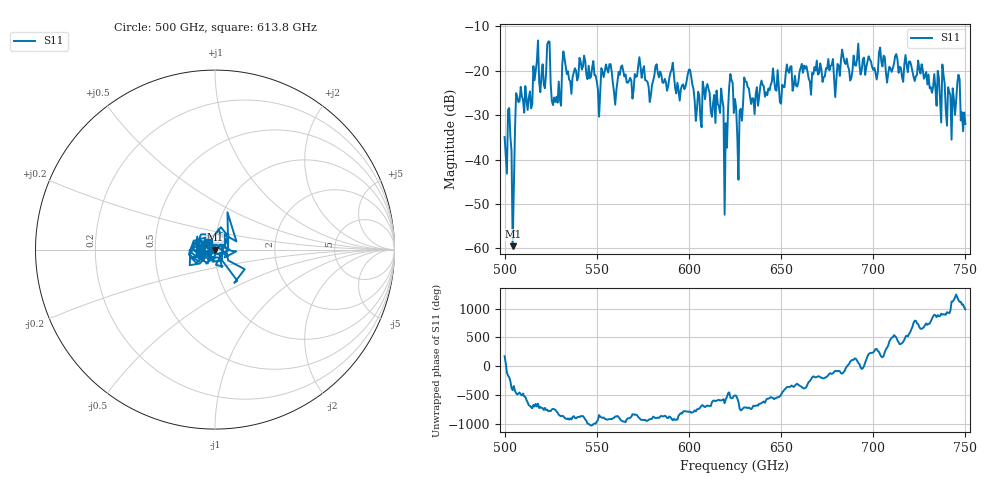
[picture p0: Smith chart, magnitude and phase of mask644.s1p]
!Created with skrf (http://scikit-rf.org).
# GHz S MA R 50.0
!freq magS11 angS11
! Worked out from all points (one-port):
!   401 points, 500 GHz to 750 GHz, reference 50 ohm
!   lowest |S11| = -59.5 dB at 504.4 GHz (marker M1), VSWR 1.00, Z = 50.1 - j0.0852 ohm
!   |S11| at or under -10 dB: start of sweep to end of sweep
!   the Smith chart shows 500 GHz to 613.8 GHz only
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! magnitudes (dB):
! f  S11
! 500 GHz  -34.9
! 502.5 GHz  -28.4
! 504.4 GHz  -59.5
! 507.5 GHz  -27.1
! 513.8 GHz  -24.6
! 516.9 GHz  -20.1
! 520.6 GHz  -18.5
! 523.8 GHz  -13.4
! 526.9 GHz  -26.0
! 531.2 GHz  -18.8
! 560 GHz  -27.6
! 562.5 GHz  -20.9
! 593.8 GHz  -22.7
! 600 GHz  -19.7
! 605.6 GHz  -25.6
! 616.2 GHz  -28.0
! 620 GHz  -31.8
! 622.5 GHz  -20.7
! 625 GHz  -26.4
! 627.5 GHz  -29.0
! 631.2 GHz  -22.5
! 634.4 GHz  -26.2
! 656.2 GHz  -24.5
! 687.5 GHz  -22.2
! 718.8 GHz  -20.3
! 741.2 GHz  -24.7
! 746.2 GHz  -20.9
! 750 GHz  -32.0
